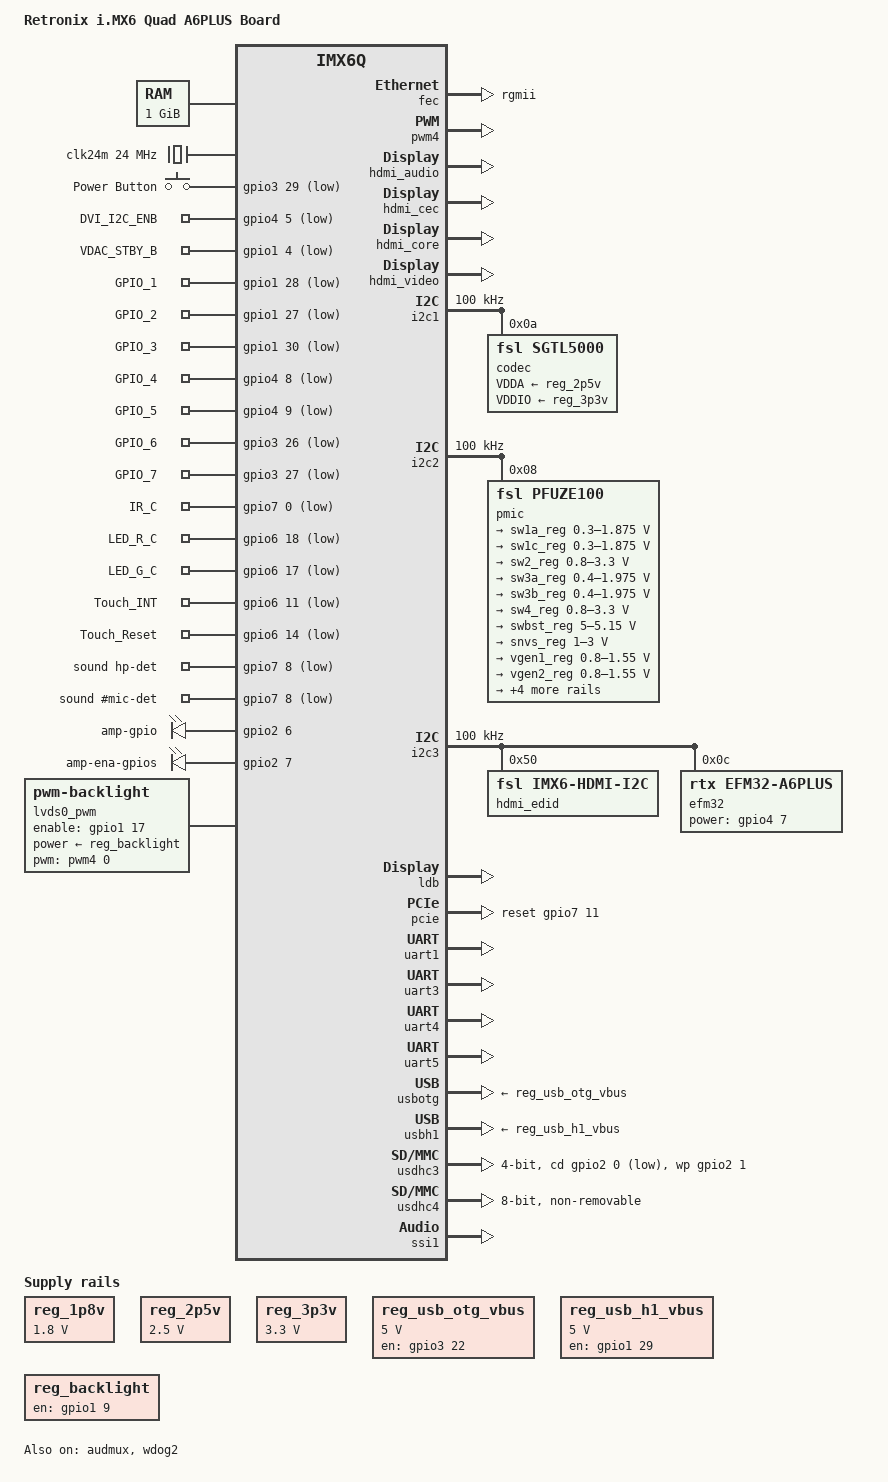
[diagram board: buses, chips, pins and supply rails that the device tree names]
/*
 * Copyright 2012 Freescale Semiconductor, Inc.
 * Copyright 2011 Linaro Ltd.
 *
 * The code contained herein is licensed under the GNU General Public
 * License. You may obtain a copy of the GNU General Public License
 * Version 2 or later at the following locations:
 *
 * http://www.opensource.org/licenses/gpl-license.html
 * http://www.gnu.org/copyleft/gpl.html
 */

/dts-v1/;

#include "skeleton.dtsi"
#include "imx6q-pinfunc.h"
#include <dt-bindings/gpio/gpio.h>
#include <dt-bindings/interrupt-controller/arm-gic.h>
#include <dt-bindings/clock/imx6qdl-clock.h>
#include <dt-bindings/input/input.h>
#include "rtx-imx6q-soc.dtsi"
#include "rtx-imx6q-a6plus-iomux.dtsi"

/ {
	model = "Retronix i.MX6 Quad A6PLUS Board";
	compatible = "rtx,rtx-imx6q-a6plus", "fsl,imx6q";

	aliases {
		mxcfb0 = &mxcfb1;
		mxcfb1 = &mxcfb2;
		mxcfb2 = &mxcfb3;
		mxcfb3 = &mxcfb4;
	};

	memory {
		reg = <0x10000000 0x40000000>;
	};

	clocks {
		clk24m: clk24m {
			compatible = "fixed-clock";
			#clock-cells = <0>;
			clock-frequency = <24000000>;
		};
	};

	regulators {
		compatible = "simple-bus";
		#address-cells = <1>;
		#size-cells = <0>;

		reg_1p8v: 1p8v {
			compatible = "regulator-fixed";
			regulator-name = "1P8V";
			regulator-min-microvolt = <1800000>;
			regulator-max-microvolt = <1800000>;
			regulator-always-on;
		};

		reg_2p5v: 2p5v {
			compatible = "regulator-fixed";
			regulator-name = "2P5V";
			regulator-min-microvolt = <2500000>;
			regulator-max-microvolt = <2500000>;
			regulator-always-on;
		};

		reg_3p3v: 3p3v {
			compatible = "regulator-fixed";
			regulator-name = "3P3V";
			regulator-min-microvolt = <3300000>;
			regulator-max-microvolt = <3300000>;
			regulator-always-on;
		};

		reg_usb_otg_vbus: usb_otg_vbus {
			compatible = "regulator-fixed";
			regulator-name = "usb_otg_vbus";
			regulator-min-microvolt = <5000000>;
			regulator-max-microvolt = <5000000>;
			gpio = <&gpio3 22 0>;
			enable-active-high;
		};

		reg_usb_h1_vbus: usb_h1_vbus {
			compatible = "regulator-fixed";
			regulator-name = "usb_h1_vbus";
			regulator-min-microvolt = <5000000>;
			regulator-max-microvolt = <5000000>;
			gpio = <&gpio1 29 1>;
			enable-active-high;
		};

		reg_backlight: backlight {
			compatible = "regulator-fixed";
			regulator-name = "lcd-supply";
			gpio = <&gpio1 9 0>;
			startup-delay-us = <5000>;
			enable-active-high;
		};

	};

	gpio-keys {
		compatible = "gpio-keys";
		power {
			label = "Power Button";
			gpios = <&gpio3 29 1>;
			linux,code = <KEY_POWER>; /* KEY_POWER */
			gpio-key,wakeup;
		};

	};

    gpio_export {
		compatible = "gpio-export";

		DVI_I2C_ENB {
			gpio-export,name = "DVI_I2C_ENB";
			gpio-export,output = <1>;
			gpio-export,direction_may_change ;
			gpios = <&gpio4 5 1>;
		};

		VDAC_STBY_B {
			gpio-export,name = "VDAC_STBY_B";
			gpio-export,output = <1>;
			gpio-export,direction_may_change ;
			gpios = <&gpio1 4 1>;
		};

		GPIO_1 {
			gpio-export,name = "GPIO_1";
			gpio-export,output = <0>;
			gpio-export,direction_may_change ;
			gpios = <&gpio1 28 1>;
		};
        		
		GPIO_2 {
			gpio-export,name = "GPIO_2";
			gpio-export,output = <0>;
			gpio-export,direction_may_change ;
			gpios = <&gpio1 27 1>;
		};

		GPIO_3 {
			gpio-export,name = "GPIO_3";
			gpio-export,output = <0>;
			gpio-export,direction_may_change ;
			gpios = <&gpio1 30 1>;
		};

		GPIO_4 {
			gpio-export,name = "GPIO_4";
			gpio-export,output = <0>;
			gpio-export,direction_may_change ;
			gpios = <&gpio4 8 1>;
		};

		GPIO_5 {
			gpio-export,name = "GPIO_5";
			gpio-export,output = <0>;
			gpio-export,direction_may_change ;
			gpios = <&gpio4 9 1>;
		};

		GPIO_6 {
			gpio-export,name = "GPIO_6";
			gpio-export,output = <0>;
			gpio-export,direction_may_change ;
			gpios = <&gpio3 26 1>;
		};

		GPIO_7 {
			gpio-export,name = "GPIO_7";
			gpio-export,output = <0>;
			gpio-export,direction_may_change ;
			gpios = <&gpio3 27 1>;
		};

		IR_C {
			gpio-export,name = "IR_C";
			gpio-export,output = <0>;
			gpio-export,direction_may_change ;
			gpios = <&gpio7 0 1>;
		};

		LED_R_C {
			gpio-export,name = "LED_R_C";
			gpio-export,output = <0>;
			gpio-export,direction_may_change ;
			gpios = <&gpio6 18 1>;
		};

		LED_G_C {
			gpio-export,name = "LED_G_C";
			gpio-export,output = <0>;
			gpio-export,direction_may_change ;
			gpios = <&gpio6 17 1>;
		};

		Touch_INT {
			gpio-export,name = "Touch_INT";
			gpio-export,output = <0>;
			gpio-export,direction_may_change ;
			gpios = <&gpio6 11 1>;
		};

		Touch_Reset {
			gpio-export,name = "Touch_Reset";
			gpio-export,output = <0>;
			gpio-export,direction_may_change ;
			gpios = <&gpio6 14 1>;
		};

	};

	sound {
		compatible = "fsl,imx6q-rtx-a6plus-sgtl5000",
			     "fsl,imx-audio-sgtl5000";
		model = "imx6q-rtx-a6plus-sgtl5000";
		ssi-controller = <&ssi1>;
		audio-codec = <&codec>;
		audio-routing =
			"MIC_IN", "Mic Jack",
			"LINE_IN", "Line In Jack",
			"Headphone Jack", "HP_OUT",
			"Ext Spk", "LINE_OUT";
		mux-int-port = <1>;
		mux-ext-port = <3>;

		hp-det-gpios = <&gpio7 8 1>;
		#mic-det-gpios = <&gpio7 8 1>;
	};

	sound-gpio {
		compatible = "gpio-leds";
		pinctrl-names = "default";
		amp-gpio {
		label = "amp-gpio";
		gpios = <&gpio2 6 GPIO_ACTIVE_HIGH>;
		default-state = "on";
		};
		amp-ena-gpios {
		label = "amp-ena-gpios";
		gpios = <&gpio2 7 GPIO_ACTIVE_HIGH>;
		default-state = "on";
		};
	};

	sound-hdmi {
		compatible = "fsl,imx6q-audio-hdmi",
			     "fsl,imx-audio-hdmi";
		model = "imx-audio-hdmi";
		hdmi-controller = <&hdmi_audio>;
	};

	mxcfb1: fb@0 {
		compatible = "fsl,mxc_sdc_fb";
		disp_dev = "ldb";
		interface_pix_fmt = "RGB666";
		default_bpp = <16>;
		int_clk = <0>;
		late_init = <0>;
		status = "okay";
	};

	mxcfb2: fb@1 {
		compatible = "fsl,mxc_sdc_fb";
		disp_dev = "ldb";
		interface_pix_fmt = "RGB24";
		default_bpp = <32>;
		int_clk = <0>;
		late_init = <0>;
		status = "okay";
	};

	mxcfb3: fb@2 {
		compatible = "fsl,mxc_sdc_fb";
		disp_dev = "hdmi";
		interface_pix_fmt = "RGB24";
		mode_str ="1920x1080M@60";
		default_bpp = <32>;
		int_clk = <0>;
		late_init = <0>;
		status = "okay";
	};

	mxcfb4: fb@3 {
		compatible = "fsl,mxc_sdc_fb";
		disp_dev = "lcd";
		interface_pix_fmt = "RGB24";
		mode_str ="1024x768@60";
		default_bpp = <24>;
		int_clk = <0>;
		late_init = <0>;
		status = "okay";
	};

	lcd@0 {
		compatible = "fsl,lcd";
		ipu_id = <0>;
		disp_id = <0>;
		default_ifmt = "RGB565";
		pinctrl-names = "default";
		pinctrl-0 = <&pinctrl_ipu1_1>;
		status = "okay";
	};

	v4l2_cap_0 {
		compatible = "fsl,imx6q-v4l2-capture";
		ipu_id = <0>;
		csi_id = <0>;
		mclk_source = <0>;
		status = "okay";
	};

	v4l2_cap_1 {
		compatible = "fsl,imx6q-v4l2-capture";
		ipu_id = <0>;
		csi_id = <1>;
		mclk_source = <0>;
		status = "okay";
	};

	v4l2_out {
		compatible = "fsl,mxc_v4l2_output";
		status = "okay";
	};

	lvds0_pwm {
		compatible = "pwm-backlight";
		pwms = <&pwm4 0 5000000>;
		brightness-levels = <0 4 8 16 32 64 128 255>;
		default-brightness-level = <6>;
		enable-gpios = <&gpio1 17 0>;
		power-supply = <&reg_backlight>;
		status = "okay";
	};
};

&audmux {
	pinctrl-names = "default";
	pinctrl-0 = <&pinctrl_audmux_2>;
	status = "okay";
};

&cpu0 {
	arm-supply = <&sw1a_reg>;
	soc-supply = <&sw1c_reg>;
};

&fec {
	pinctrl-names = "default";
	pinctrl-0 = <&pinctrl_enet_4>;
	phy-mode = "rgmii";
	phy-reset-boot-on;
	status = "okay";
};

&pwm4 {
	pinctrl-names = "default";
	pinctrl-0 = <&pinctrl_pwm4_1>;
	status = "okay";
};

&gpc {
	fsl,ldo-bypass = <0>; /* use ldo-bypass, u-boot will check it and configure */
	fsl,wdog-reset = <2>; /* watchdog select of reset source */
};

&hdmi_audio {
	status = "okay";
};

&hdmi_cec {
	pinctrl-names = "default";
	pinctrl-0 = <&pinctrl_hdmi_cec_2>;
	status = "okay";
};

&hdmi_core {
	ipu_id = <1>;
	disp_id = <0>;
	status = "okay";
};

&hdmi_video {
	fsl,phy_reg_vlev = <0x0294>;
	fsl,phy_reg_cksymtx = <0x800d>;
	status = "okay";
};

&i2c1 {
	clock-frequency = <100000>;
	pinctrl-names = "default";
	pinctrl-0 = <&pinctrl_i2c1_2>;
	status = "okay";

	codec: sgtl5000@0a {
		compatible = "fsl,sgtl5000";
		reg = <0x0a>;
		clocks = <&clks 201>;
		VDDA-supply = <&reg_2p5v>;
		VDDIO-supply = <&reg_3p3v>;
		amic-mono;
	};
};

&i2c2 {
	clock-frequency = <100000>;
	pinctrl-names = "default";
	pinctrl-0 = <&pinctrl_i2c2_2>;
	status = "okay";

	pmic: pfuze100@08 {
		compatible = "fsl,pfuze100";
		reg = <0x08>;

		regulators {
			sw1a_reg: sw1ab {
				regulator-min-microvolt = <300000>;
				regulator-max-microvolt = <1875000>;
				regulator-boot-on;
				regulator-always-on;
				regulator-ramp-delay = <6250>;
			};

			sw1c_reg: sw1c {
				regulator-min-microvolt = <300000>;
				regulator-max-microvolt = <1875000>;
				regulator-boot-on;
				regulator-always-on;
				regulator-ramp-delay = <6250>;
			};

			sw2_reg: sw2 {
				regulator-min-microvolt = <800000>;
				regulator-max-microvolt = <3300000>;
				regulator-boot-on;
				regulator-always-on;
			};

			sw3a_reg: sw3a {
				regulator-min-microvolt = <400000>;
				regulator-max-microvolt = <1975000>;
				regulator-boot-on;
				regulator-always-on;
			};

			sw3b_reg: sw3b {
				regulator-min-microvolt = <400000>;
				regulator-max-microvolt = <1975000>;
				regulator-boot-on;
				regulator-always-on;
			};

			sw4_reg: sw4 {
				regulator-min-microvolt = <800000>;
				regulator-max-microvolt = <3300000>;
				regulator-boot-on;
				regulator-always-on;
			};

			swbst_reg: swbst {
				regulator-min-microvolt = <5000000>;
				regulator-max-microvolt = <5150000>;
				regulator-always-on;
			};

			snvs_reg: vsnvs {
				regulator-min-microvolt = <1000000>;
				regulator-max-microvolt = <3000000>;
				regulator-boot-on;
				regulator-always-on;
			};

			vref_reg: vrefddr {
				regulator-boot-on;
				regulator-always-on;
			};

			vgen1_reg: vgen1 {
				regulator-min-microvolt = <800000>;
				regulator-max-microvolt = <1550000>;
				regulator-boot-on;
				regulator-always-on;
			};

			vgen2_reg: vgen2 {
				regulator-min-microvolt = <800000>;
				regulator-max-microvolt = <1550000>;
				regulator-boot-on;
				regulator-always-on;
			};

			vgen3_reg: vgen3 {
				regulator-min-microvolt = <1800000>;
				regulator-max-microvolt = <3300000>;
				regulator-boot-on;
				regulator-always-on;
			};

			vgen4_reg: vgen4 {
				regulator-min-microvolt = <1800000>;
				regulator-max-microvolt = <3300000>;
				regulator-always-on;
			};

			vgen5_reg: vgen5 {
				regulator-min-microvolt = <1800000>;
				regulator-max-microvolt = <3300000>;
				regulator-always-on;
			};

			vgen6_reg: vgen6 {
				regulator-min-microvolt = <1800000>;
				regulator-max-microvolt = <3300000>;
				regulator-always-on;
			};
		};
	};


};

&i2c3 {
	clock-frequency = <100000>;
	pinctrl-names = "default";
	pinctrl-0 = <&pinctrl_i2c3_2>;
	status = "okay";

	hdmi_edid: edid@50 {
		compatible = "fsl,imx6-hdmi-i2c";
		reg = <0x50>;
	};

	efm32: rtx-efm32@0c {
		compatible = "rtx,efm32-a6plus";
		pinctrl-names = "default";
		reg = <0x0c>;
		gpio-power = <&gpio4 7 0>;
	};
};

&ldb {
	status = "okay";

	lvds-channel@0 {
		fsl,data-mapping = "spwg";
		fsl,data-width = <24>;
		primary;
		crtc = "ipu1-di0";
		interface_pix_fmt = "RGB24";
		status = "okay";

		display-timings {
			native-mode = <&timing0>;
			timing0: hsd100pxn1 {
				clock-frequency = <71000000>;
				hactive = <1280>;
				hfront-porch = <48>;
				hback-porch = <80>;
				hsync-len = <32>;
				vactive = <800>;
				vfront-porch = <3>;
				vback-porch = <14>;
				vsync-len = <6>;
				mode-is-detailed ;
				de-active = <1>;
			};
		};
	};

	lvds-channel@1 {
		fsl,data-mapping = "spwg";
		fsl,data-width = <24>;
		primary;
		crtc = "ipu1-di1";
		interface_pix_fmt = "RGB24";
		status = "okay";

		display-timings {
			native-mode = <&timing1>;
			timing1: hsd100pxn2 {
				clock-frequency = <71000000>;
				hactive = <1280>;
				hfront-porch = <48>;
				hback-porch = <80>;
				hsync-len = <32>;
				vactive = <800>;
				vfront-porch = <3>;
				vback-porch = <14>;
				vsync-len = <6>;
				mode-is-detailed ;
				de-active = <1>;
			};
		};
	};
};

&pcie {
	pinctrl-names = "default";

	power-on-gpio = <&gpio3 18 0>;
	reset-gpio = <&gpio7 11 0>;
	wake-up-gpio = <&gpio1 8 1>;
	disable-gpio = <&gpio7 1 0>;
	status = "okay";
};

&uart1 {
	pinctrl-names = "default";
	pinctrl-0 = <&pinctrl_uart1_1>;
	fsl,uart-has-rtscts;
	status = "okay";
};

&uart3 {
	pinctrl-names = "default";
	pinctrl-0 = <&pinctrl_uart3_1>;
	fsl,azrs3080;
	fsl,azrs3080-cts-dir    = <&gpio3 31 0> ;
	fsl,azrs3080-rts-dir    = <&gpio3 23 0> ;
	status = "okay";
};

&uart4 {
	pinctrl-names = "default";
	pinctrl-0 = <&pinctrl_uart4_1>;
	fsl,uart-has-rtscts;
	status = "okay";
};

&uart5 {
	pinctrl-names = "default", "rs422";
	pinctrl-0 = <&pinctrl_uart5_dte_rs232>;
	pinctrl-1 = <&pinctrl_uart5_dte_rs422>;
	/* fsl,dte-mode;
	DTE mode : CSI0_DAT14 is RX; CSI0_DAT15 is TX; KEY_ROW4 is RTS; KEY_COL4 is CTS;
	DCE mode : CSI0_DAT14 is TX; CSI0_DAT15 is RX; KEY_ROW4 is CTS; KEY_COL4 is RTS;
	*/
	/* fsl,dte-mode; */
	fsl,uart-has-rtscts;
	fsl,sp339e;
	fsl,sp339e-dir    = <&gpio4 15 0> ;
	fsl,sp339e-enable = <&gpio3 16 0> ;
	fsl,sp339e-m0     = <&gpio2 23 0> ;
	fsl,sp339e-m1     = <&gpio2 24 0> ;
	fsl,sp339e-tm     = <&gpio6 31 0> ;
	fsl,sp339e-slew   = <&gpio3 17 0> ;
	status = "okay";
};

&usbotg {
	pinctrl-names = "default";
	pinctrl-0 = <&pinctrl_usbotg_2>;
	vbus-supply = <&reg_usb_otg_vbus>;
	disable-over-current;
	status = "okay";
};

&usbh1 {
	pinctrl-names = "default";
	vbus-supply = <&reg_usb_h1_vbus>;
	status = "okay";
};

&usdhc3 {
	pinctrl-names = "default";
	pinctrl-0 = <&pinctrl_usdhc3_50mhz &pinctrl_usdhc3_cd_wp>;
	bus-width = <4>;
	cd-gpios = <&gpio2 0 1>;
	wp-gpios = <&gpio2 1 0>;
	no-1-8-v;
	keep-power-in-suspend;
	enable-sdio-wakeup;
	status = "okay";
};

&usdhc4 {
	pinctrl-names = "default";
	pinctrl-0 = <&pinctrl_usdhc4_1>;
	bus-width = <8>;
	non-removable;
	no-1-8-v;
	keep-power-in-suspend;
	status = "okay";
};

&ssi1 {
	fsl,mode = "i2s-slave";
	status = "okay";
};

&wdog1 {
	status = "disabled";
};

&wdog2 {
	pinctrl-names = "default";
	fsl,wdog_b;
    fsl,ext-reset-output;
	status = "okay";
};
